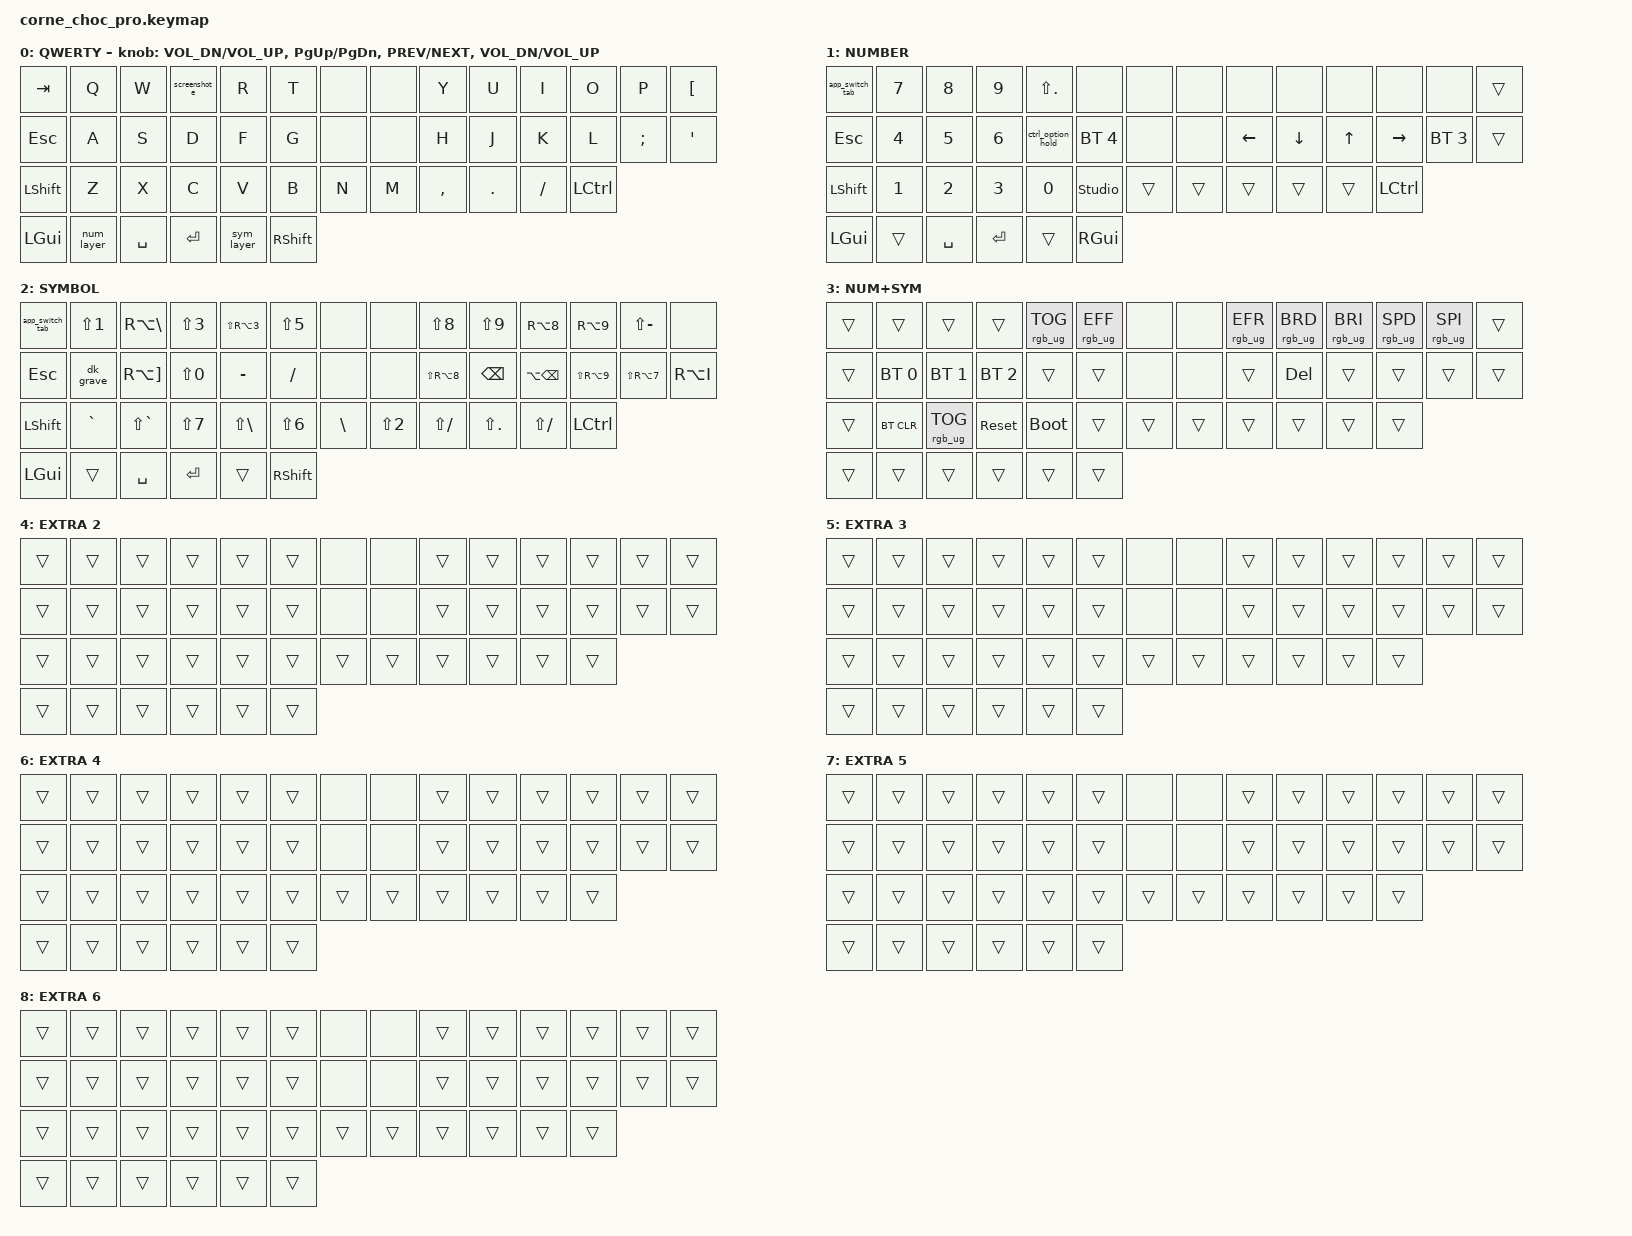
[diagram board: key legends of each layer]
/*
 * Copyright (c) 2020 The ZMK Contributors
 *
 * SPDX-License-Identifier: MIT
 */

#include <behaviors.dtsi>
#include <dt-bindings/zmk/keys.h>
#include <dt-bindings/zmk/modifiers.h>
#include <dt-bindings/zmk/bt.h>
#include <dt-bindings/zmk/rgb.h>

/ {
    chosen {
        zmk,physical-layout = &default_layout;
    };
};

/ {
    behaviors {

        /* Both left modifiers must be held before E: send Cmd+Shift+4.
         * Keep the physical modifiers; releasing E releases only the chosen key.
         */
        screenshot_shift: screenshot_shift {
            compatible = "zmk,behavior-mod-morph";
            #binding-cells = <0>;
            bindings = <&kp E>, <&kp N4>;
            mods = <MOD_LSFT>;
            keep-mods = <MOD_LSFT>;
        };

        screenshot_e: screenshot_e {
            compatible = "zmk,behavior-mod-morph";
            #binding-cells = <0>;
            bindings = <&kp E>, <&screenshot_shift>;
            mods = <MOD_LGUI>;
            keep-mods = <MOD_LGUI>;
        };
        kt_on: key_toggle_on_only {
            compatible = "zmk,behavior-key-toggle";
            #binding-cells = <1>;
            display-name = "Key Toggle On";
            toggle-mode = "on";
        };

        kt_off: key_toggle_off_only {
            compatible = "zmk,behavior-key-toggle";
            #binding-cells = <1>;
            display-name = "Key Toggle Off";
            toggle-mode = "off";
        };
    };

    macros {
        /* Hold SYMBOL. Releasing it also releases Command if Cmd+Tab latched it. */
        sym_layer: sym_layer {
            compatible = "zmk,behavior-macro";
            #binding-cells = <0>;
            wait-ms = <0>;
            tap-ms = <0>;
            bindings =
                <&macro_press &mo 2>,
                <&macro_pause_for_release>,
                <&macro_release &mo 2>,
                <&macro_tap &kt_off LGUI>;
        };

        /* Hold NUMBER. Releasing it also releases Command if Cmd+Tab latched it. */
        num_layer: num_layer {
            compatible = "zmk,behavior-macro";
            #binding-cells = <0>;
            wait-ms = <0>;
            tap-ms = <0>;
            bindings =
                <&macro_press &mo 1>,
                <&macro_pause_for_release>,
                <&macro_release &mo 1>,
                <&macro_tap &kt_off LGUI>;
        };

        /* NUMBER/SYMBOL + Tab: keep Command held so Tab can be tapped repeatedly. */
        app_switch_tab: app_switch_tab {
            compatible = "zmk,behavior-macro";
            #binding-cells = <0>;
            wait-ms = <5>;
            tap-ms = <5>;
            bindings = <&kt_on LGUI>, <&kp TAB>;
        };

        /* On Danish macOS the grave accent key is dead; follow with Space for a literal `. */
        dk_grave: dk_grave {
            compatible = "zmk,behavior-macro";
            #binding-cells = <0>;
            bindings = <&kp LS(EQUAL)>, <&kp SPACE>;
        };

        /* NUMBER + F: hold macOS Control + Option until F is released. */
        ctrl_option_hold: ctrl_option_hold {
            compatible = "zmk,behavior-macro";
            #binding-cells = <0>;
            wait-ms = <0>;
            tap-ms = <0>;
            bindings =
                <&macro_press &kp LCTRL &kp LALT>,
                <&macro_pause_for_release>,
                <&macro_release &kp LALT &kp LCTRL>;
        };
    };

    conditional_layers {
        compatible = "zmk,conditional-layers";

        num_and_symbol {
            if-layers = <1 2>;
            then-layer = <3>;
        };
    };

    keymap {
        compatible = "zmk,keymap";

        // The four extra inner keys are disabled with &none on every layer.

        default_layer {
            display-name = "QWERTY";
            // | TAB |  Q  |  W  |  E  |  R  |  T  | OFF  | OFF  |  Y  |  U  |  I  |  O  |  P  |  Å   |
            // | ESC |  A  |  S  |  D  |  F  |  G  | OFF  | OFF  |  H  |  J  |  K  |  L  |  Æ  |  Ø   |
            // |SHFT |  Z  |  X  |  C  |  V  |  B  |             |  N  |  M  |  ,  |  .  |  /  | CTRL |
            //                   | GUI | NUM | SPC |             | ENT | SYM | SHFT |
            bindings = <
                &kp TAB   &kp Q &kp W &screenshot_e &kp R &kp T &none      &none    &kp Y &kp U  &kp I     &kp O   &kp P    &kp LBKT
                &kp ESC   &kp A &kp S &kp D &kp F &kp G &none      &none    &kp H &kp J  &kp K     &kp L   &kp SEMI &kp SQT
                &kp LSHFT &kp Z &kp X &kp C &kp V &kp B                     &kp N &kp M  &kp COMMA &kp DOT &kp FSLH &kp LCTRL
                                      &kp LGUI &num_layer &kp SPACE          &kp RET &sym_layer &kp RSHFT
            >;
            sensor-bindings = <&inc_dec_kp C_VOL_DN C_VOL_UP &inc_dec_kp PG_UP PG_DN &inc_dec_kp C_PREV C_NEXT &inc_dec_kp C_VOL_DN C_VOL_UP>;
        };

        lower_layer {
            display-name = "NUMBER";
            // Left-hand numpad: Q/W/E = 7/8/9, A/S/D = 4/5/6, Z/X/C = 1/2/3, V = 0.
            // R = colon (:) via Shift+period on Danish macOS; keep NUM held to type times.
            // Hold F for Control+Option (Magnet); H/J/K/L remain Left/Down/Up/Right.
            // Outer right thumb = Right Command on NUMBER; base/SYMBOL keep Right Shift.
            // Right Command is independent of the Left Command Cmd+Tab latch.
            // Tab latches Cmd+Tab; releasing NUM releases latched Left Command.
            // Displaced Bluetooth and maintenance keys are on NUM+SYM.
            // G and SEMI still select Bluetooth profiles 5 and 4; B still unlocks Studio.
            // Backspace intentionally exists only on SYMBOL.
            bindings = <
                &app_switch_tab      &kp N7               &kp N8               &kp N9               &kp LS(DOT)                &none                &none                &none                &none                &none                &none                &none                &none                &trans
                &kp ESC              &kp N4               &kp N5               &kp N6               &ctrl_option_hold    &bt BT_SEL 4         &none                &none                &kp LEFT             &kp DOWN             &kp UP               &kp RIGHT            &bt BT_SEL 3         &trans
                &kp LSHFT            &kp N1               &kp N2               &kp N3               &kp N0               &studio_unlock       &trans               &trans               &trans               &trans               &trans               &kp LCTRL
                &kp LGUI             &trans               &kp SPACE            &kp RET              &trans               &kp RGUI
            >;
        };

        raise_layer {
            display-name = "SYMBOL";
            /*
             * Danish macOS symbol/edit layer.
             * R = dollar via Shift+Option+3.
             * The far-right top-row key (base Å) is disabled on SYMBOL.
             * The far-right home-row key (base Ø) sends pipe via Option+I.
             * Æ sends backslash via Shift+Option+7.
             * The bottom-right key remains Control.
             * H/L = braces via Shift+Option+8/9 on Danish macOS.
             * W = @ via Option + the Danish apostrophe key (HID BSLH).
             * The base-layer minus key also sends underscore while SYMBOL is held.
             * J = Backspace
             * K = delete previous word (Option+Backspace)
             * Backspace intentionally lives only on this layer.
             *
             * Left hand                              Right hand
             * |CmdTab| ! | @ | # | $ | % |          | ( | ) | [ | ] | ? | OFF|
             * | ESC  | ` | ~ | = | + | - |          | { |BSPC|WORD| } | \\ |Pipe|
             * | SHFT | < | > | / | * | & |          | ' | \" | _ | : | _ |CTRL|
             *                    |GUI|  |SPC|        |ENT|SYM|SHFT|
             *
             * Z/X = </> via GRAVE / Shift+GRAVE for this Mac's Danish mapping.
             * NUBS / Shift+NUBS produced $ / section sign on the user's Mac;
             * macOS keyboard-type translation swaps these two physical key positions.
             * The symbol bindings use the physical HID combinations for
             * the Danish keyboard layout rather than US-layout symbol aliases.
             */
            bindings = <
                &app_switch_tab &kp LS(N1)   &kp RA(BSLH)   &kp LS(N3)  &kp LS(RA(N3))   &kp LS(N5)  &none     &none     &kp LS(N8) &kp LS(N9) &kp RA(N8)   &kp RA(N9)   &kp LS(MINUS) &none
                &kp ESC         &dk_grave     &kp RA(RBKT) &kp LS(N0)  &kp MINUS    &kp FSLH    &none     &none     &kp LS(RA(N8)) &kp BSPC   &kp LA(BSPC) &kp LS(RA(N9))   &kp LS(RA(N7))  &kp RA(I)
                &kp LSHFT       &kp GRAVE     &kp LS(GRAVE) &kp LS(N7)  &kp LS(BSLH) &kp LS(N6)                         &kp BSLH   &kp LS(N2) &kp LS(FSLH) &kp LS(DOT)  &kp LS(FSLH)         &kp LCTRL
                                                         &kp LGUI      &trans        &kp SPACE                          &kp RET    &trans     &kp RSHFT
            >;
        };

        extra_layer_1 {
            display-name = "NUM+SYM";
            /*
             * Automatically active while NUMBER and SYMBOL are both held.
             * J = forward Delete.
             * RGB controls:
             *   R = toggle RGB       T = next effect
             *   Y = previous effect  U/I = brightness down/up
             *   O/P = speed down/up
             * A/S/D = Bluetooth profiles 1/2/3; Z = clear current Bluetooth profile.
             * X = toggle RGB; C = reset; V = bootloader.
             * Everything else falls through to NUMBER/SYMBOL.
             */
            bindings = <
                &trans               &trans               &trans               &trans               &rgb_ug RGB_TOG      &rgb_ug RGB_EFF      &none                &none                &rgb_ug RGB_EFR      &rgb_ug RGB_BRD      &rgb_ug RGB_BRI      &rgb_ug RGB_SPD      &rgb_ug RGB_SPI      &trans
                &trans               &bt BT_SEL 0         &bt BT_SEL 1         &bt BT_SEL 2         &trans               &trans               &none                &none                &trans               &kp DEL              &trans               &trans               &trans               &trans
                &trans               &bt BT_CLR           &rgb_ug RGB_TOG      &sys_reset           &bootloader          &trans               &trans               &trans               &trans               &trans               &trans               &trans
                &trans               &trans               &trans               &trans               &trans               &trans
            >;
        };

        extra_layer_2 {
            display-name = "EXTRA 2";
            bindings = <
                &trans &trans &trans &trans &trans &trans &none  &none  &trans &trans &trans &trans &trans &trans
                &trans &trans &trans &trans &trans &trans &none  &none  &trans &trans &trans &trans &trans &trans
                &trans &trans &trans &trans &trans &trans               &trans &trans &trans &trans &trans &trans
                                     &trans &trans &trans               &trans &trans &trans
            >;
        };

        extra_layer_3 {
            display-name = "EXTRA 3";
            bindings = <
                &trans &trans &trans &trans &trans &trans &none  &none  &trans &trans &trans &trans &trans &trans
                &trans &trans &trans &trans &trans &trans &none  &none  &trans &trans &trans &trans &trans &trans
                &trans &trans &trans &trans &trans &trans               &trans &trans &trans &trans &trans &trans
                                     &trans &trans &trans               &trans &trans &trans
            >;
        };

        extra_layer_4 {
            display-name = "EXTRA 4";
            bindings = <
                &trans &trans &trans &trans &trans &trans &none  &none  &trans &trans &trans &trans &trans &trans
                &trans &trans &trans &trans &trans &trans &none  &none  &trans &trans &trans &trans &trans &trans
                &trans &trans &trans &trans &trans &trans               &trans &trans &trans &trans &trans &trans
                                     &trans &trans &trans               &trans &trans &trans
            >;
        };

        extra_layer_5 {
            display-name = "EXTRA 5";
            bindings = <
                &trans &trans &trans &trans &trans &trans &none  &none  &trans &trans &trans &trans &trans &trans
                &trans &trans &trans &trans &trans &trans &none  &none  &trans &trans &trans &trans &trans &trans
                &trans &trans &trans &trans &trans &trans               &trans &trans &trans &trans &trans &trans
                                     &trans &trans &trans               &trans &trans &trans
            >;
        };

        extra_layer_6 {
            display-name = "EXTRA 6";
            bindings = <
                &trans &trans &trans &trans &trans &trans &none  &none  &trans &trans &trans &trans &trans &trans
                &trans &trans &trans &trans &trans &trans &none  &none  &trans &trans &trans &trans &trans &trans
                &trans &trans &trans &trans &trans &trans               &trans &trans &trans &trans &trans &trans
                                     &trans &trans &trans               &trans &trans &trans
            >;
        };
    };
};
